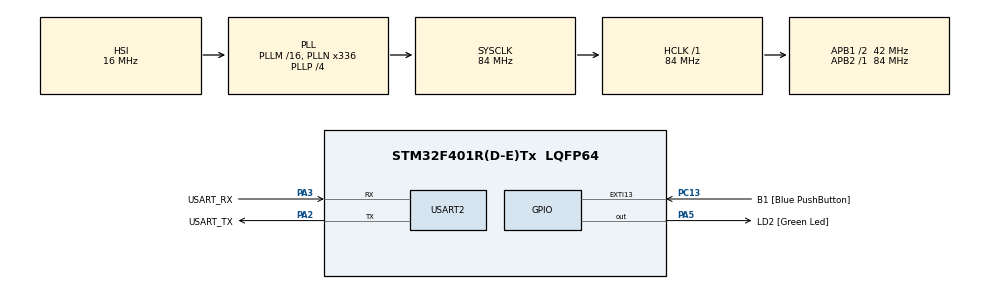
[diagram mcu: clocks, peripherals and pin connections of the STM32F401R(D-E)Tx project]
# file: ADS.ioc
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Mcu.Family=STM32F4
Mcu.Name=STM32F401R(D-E)Tx
Mcu.Package=LQFP64
NVIC.PriorityGroup=NVIC_PRIORITYGROUP_4
PA13.GPIO_Label=TMS
PA13.Mode=Trace_Asynchronous_SW
PA13.Signal=SYS_JTMS-SWDIO
PA14.GPIO_Label=TCK
PA14.Mode=Trace_Asynchronous_SW
PA14.Signal=SYS_JTCK-SWCLK
PA2.GPIO_Label=USART_TX
PA2.GPIO_Mode=GPIO_MODE_AF_PP
PA2.GPIO_PuPd=GPIO_NOPULL
PA2.GPIO_Speed=GPIO_SPEED_FREQ_LOW
PA2.Mode=Asynchronous
PA2.Signal=USART2_TX
PA3.GPIO_Label=USART_RX
PA3.GPIO_Mode=GPIO_MODE_AF_PP
PA3.GPIO_PuPd=GPIO_NOPULL
PA3.GPIO_Speed=GPIO_SPEED_FREQ_LOW
PA3.Mode=Asynchronous
PA3.Signal=USART2_RX
PA5.GPIO_Label=LD2 [Green Led]
PA5.GPIO_Mode=GPIO_MODE_OUTPUT_PP
PA5.GPIO_PuPd=GPIO_NOPULL
PA5.GPIO_Speed=GPIO_SPEED_FREQ_LOW
PA5.Signal=GPIO_Output
PB3.GPIO_Label=SWO
PB3.Mode=Trace_Asynchronous_SW
PB3.Signal=SYS_JTDO-SWO
PC13-ANTI_TAMP.GPIO_Label=B1 [Blue PushButton]
PC13-ANTI_TAMP.GPIO_ModeDefaultEXTI=GPIO_MODE_IT_FALLING
PC13-ANTI_TAMP.GPIO_PuPd=GPIO_NOPULL
PC13-ANTI_TAMP.Signal=GPXTI13
PC14-OSC32_IN.Mode=LSE-External-Oscillator
PC14-OSC32_IN.Signal=RCC_OSC32_IN
PC15-OSC32_OUT.Mode=LSE-External-Oscillator
PC15-OSC32_OUT.Signal=RCC_OSC32_OUT
PH0\ -\ OSC_IN.Mode=HSE-External-Clock-Source
PH0\ -\ OSC_IN.Signal=RCC_OSC_IN
PH1\ -\ OSC_OUT.Mode=HSE-External-Clock-Source
PH1\ -\ OSC_OUT.Signal=RCC_OSC_OUT
ProjectManager.HeapSize=0x200
ProjectManager.StackSize=0x2000
ProjectManager.TargetToolchain=STM32CubeIDE
RCC.48MHZClocksFreq_Value=48000000
RCC.AHBFreq_Value=84000000
RCC.APB1CLKDivider=RCC_HCLK_DIV2
RCC.APB1Freq_Value=42000000
RCC.APB1TimFreq_Value=84000000
RCC.APB2Freq_Value=84000000
RCC.APB2TimFreq_Value=84000000
RCC.CortexFreq_Value=84000000
RCC.HCLKFreq_Value=84000000
RCC.HSE_VALUE=8000000
RCC.HSI_VALUE=16000000
RCC.PLLN=336
RCC.PLLP=RCC_PLLP_DIV4
RCC.PLLQ=7
RCC.SYSCLKFreq_VALUE=84000000
RCC.SYSCLKSource=RCC_SYSCLKSOURCE_PLLCLK
RCC.VCOOutputFreq_Value=336000000
USART2.VirtualMode=VM_ASYNC
board=NUCLEO-F401RE

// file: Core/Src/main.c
/* USER CODE BEGIN Header */
/**
  ******************************************************************************
  * @file           : main.c
  * @brief          : Main program body
  ******************************************************************************
  * @attention
  *
  * Copyright (c) 2026 STMicroelectronics.
  * All rights reserved.
  *
  * This software is licensed under terms that can be found in the LICENSE file
  * in the root directory of this software component.
  * If no LICENSE file comes with this software, it is provided AS-IS.
  *
  ******************************************************************************
  */
/* USER CODE END Header */
#include "main.h"

/* USER CODE BEGIN Includes */
#include "ads_protocol.h"
#include "ads_motor.h"
#include "ads_sensors.h"
#include "ads_circuit.h"
#include "ads_circuit_relay.h"
#include <string.h>
/* USER CODE END Includes */

UART_HandleTypeDef huart2;

/* USER CODE BEGIN PV */
static ADS_Protocol ads_protocol;
static ADS_Test motor_test;
static ADS_Test circuit_test;
static uint8_t circuit_ready;
/* ISR receives bytes while bounded I2C/one-wire operations and TX execute. */
static uint8_t rx_byte, rx_ring[1024];
static volatile uint16_t rx_head, rx_tail;
static volatile uint8_t rx_fault;
/* USER CODE END PV */

void SystemClock_Config(void);
static void MX_GPIO_Init(void);
static void MX_USART2_UART_Init(void);
/* USER CODE BEGIN PFP */
static int ADS_UART_Transmit(const uint8_t *data, size_t length, void *context);
static uint32_t ADS_GetTick(void *context);
/* USER CODE END PFP */

/* USER CODE BEGIN 0 */
/* Independent D5/PB4/IN2 supply channel. No motor PWM is used here. */
static void ADS_StopCircuit(void *context)
{
  (void)context;
  ADS_CircuitRelay_Off();
}
static int ADS_CircuitReady(void *context)
{
  (void)context; ADS_ElectricalBranch branches[2];
  if(motor_test.running || motor_test.armed) return 0;
  ADS_Sensors_Branches(branches,NULL);
  return branches[1].connected && branches[1].configured &&
    branches[1].samples[0].valid && branches[1].samples[1].valid;
}
static int ADS_StartCircuit(uint32_t unused,uint32_t duration,void *context)
{
  (void)unused; (void)duration; (void)context;
#if ADS_PHYSICAL_OUTPUT_ENABLED && ADS_CIRCUIT_OUTPUT_ENABLED && ADS_CIRCUIT_RELAY_VERIFIED && ADS_KILL_SWITCH_VERIFIED && ADS_COMM_LOSS_STOP_VERIFIED
  uint32_t irq=__get_PRIMASK(); __disable_irq();
  if(circuit_test.locked || (uint32_t)(HAL_GetTick()-circuit_test.last_heartbeat_ms)>=2000U || !ADS_CircuitReady(NULL)) { __set_PRIMASK(irq); return 0; }
  ADS_Motor_Stop();
  ADS_CircuitRelay_On();
  __set_PRIMASK(irq);
  return 1;
#else
  return 0;
#endif
}
void ADS_Circuit_Poll(uint32_t now_ms)
{
  if(circuit_ready) ADS_Test_Poll(&circuit_test,now_ms);
}
void ADS_Circuit_Fault(void)
{
  ADS_StopCircuit(NULL);
  if(circuit_ready) ADS_Test_Fault(&circuit_test,HAL_GetTick(),"OUTPUTS_STOPPED");
}
static void ADS_HeartbeatMotor(uint32_t now_ms, void *context)
{
  (void)context;
  ADS_Motor_Heartbeat(now_ms);
}

static void ADS_StopMotor(void *context)
{
  (void)context;
  ADS_Motor_Stop();
  ADS_Circuit_Fault();
}

void HAL_UART_RxCpltCallback(UART_HandleTypeDef *uart)
{
  if (uart->Instance!=USART2) return;
  uint16_t next=(uint16_t)((rx_head+1U)&1023U);
  if (next==rx_tail) { rx_fault=1; ADS_Motor_Fault(); ADS_Circuit_Fault(); }
  else { rx_ring[rx_head]=rx_byte; __DMB(); rx_head=next; }
  if (HAL_UART_Receive_IT(&huart2,&rx_byte,1)!=HAL_OK) { rx_fault=1; ADS_Motor_Fault(); ADS_Circuit_Fault(); }
}
void HAL_UART_ErrorCallback(UART_HandleTypeDef *uart)
{
  if (uart->Instance==USART2) { rx_fault=1; ADS_Motor_Fault(); ADS_Circuit_Fault(); }
}
static void ADS_ReceivePoll(void)
{
  if (rx_fault) {
    uint32_t irq=__get_PRIMASK(); __disable_irq();
    rx_head=rx_tail=0; rx_fault=0;
    ads_protocol.receive_length=0; ads_protocol.receive_overflow=1;
    HAL_UART_AbortReceive(&huart2);
    if (HAL_UART_Receive_IT(&huart2,&rx_byte,1)!=HAL_OK) rx_fault=1;
    __set_PRIMASK(irq);
    ADS_Test_Fault(&motor_test,HAL_GetTick(),"UART_RECEIVE_FAULT");
    ADS_Test_Fault(&circuit_test,HAL_GetTick(),"UART_RECEIVE_FAULT");
  }
  for(unsigned budget=0;budget<512 && rx_tail!=rx_head && !rx_fault;budget++) {
    uint8_t byte=rx_ring[rx_tail]; __DMB(); rx_tail=(uint16_t)((rx_tail+1U)&1023U);
    ADS_Protocol_ProcessByte(&ads_protocol,byte);
  }
}
static int ADS_TestReady(void *context)
{
  (void)context;
  return (!(motor_test.running || motor_test.armed) || !ADS_Motor_IsLatched()) && !circuit_test.running && !circuit_test.armed && ADS_Motor_OperationReady() && (motor_test.running ? ADS_Sensors_Ready() : ADS_Motor_IdleReady());
}
static int ADS_TestPreparePower(void *context)
{
  (void)context;uint32_t irq=__get_PRIMASK();__disable_irq();
  int result=ADS_Motor_PreparePower();__set_PRIMASK(irq);return result;
}
static int ADS_TestPowerState(void *context) { (void)context;return ADS_Motor_PowerState(); }
static int ADS_TestFeedback(void *context)
{ (void)context; return ADS_Motor_PowerFeedbackState(); }
static int ADS_TestArm(void *context)
{
  (void)context;
  uint32_t irq=__get_PRIMASK(); __disable_irq();
  int armed=ADS_Motor_Rearm();
  __set_PRIMASK(irq);
  return armed;
}
static int ADS_TestStart(uint32_t pwm, uint32_t duration, void *context)
{
  (void)context;
  /* Atomic against SysTick/fault-stop between readiness and activation. */
  uint32_t irq=__get_PRIMASK(); __disable_irq();
  int started=ADS_Motor_StartPWM(pwm,duration);
  __set_PRIMASK(irq);
  return started;
}
static int ADS_UART_Transmit(const uint8_t *data, size_t length, void *context)
{
  UART_HandleTypeDef *uart = (UART_HandleTypeDef *)context;
  /* Larger dual-sensor frames must not starve conversion polling. Keep the
   * existing blocking HAL interface, but service acquisition between bounded
   * 24-byte chunks (~2.1 ms at 115200). No nested protocol processing here. */
  while (length) {
    uint16_t chunk=(uint16_t)(length>24U?24U:length);
    if (HAL_UART_Transmit(uart,(uint8_t *)data,chunk,100U)!=HAL_OK) {
      ADS_Motor_Fault(); ADS_Circuit_Fault(); return -1;
    }
    data+=chunk; length-=chunk;
    ADS_Sensors_Poll(); ADS_Motor_Poll(HAL_GetTick());
  }
  return 0;
}

static uint32_t ADS_GetTick(void *context)
{
  (void)context;
  return HAL_GetTick();
}

/* USER CODE END 0 */

int main(void)
{

  /* MCU Configuration--------------------------------------------------------*/

  /* Reset of all peripherals, Initializes the Flash interface and the Systick. */
  HAL_Init();

  /* USER CODE BEGIN Init */
  ADS_Motor_Init();
  ADS_CircuitRelay_Init();

  /* USER CODE END Init */

  /* Configure the system clock */
  SystemClock_Config();

  /* Initialize all configured peripherals */
  MX_GPIO_Init();
  MX_USART2_UART_Init();
  /* USER CODE BEGIN 2 */
  ADS_Protocol_Init(&ads_protocol, ADS_UART_Transmit, ADS_GetTick, &huart2);
  ads_protocol.require_crc=1;
  ADS_Sensors_Init();
  ADS_Test_Init(&motor_test, ADS_BENCH_PWM_PERCENT, ADS_BENCH_MAX_DURATION_MS,
                ADS_Motor_OutputEnabled(), ADS_TestReady, ADS_TestStart, ADS_StopMotor, NULL);
  motor_test.power_required=1;motor_test.prepare_power=ADS_TestPreparePower;motor_test.power_state=ADS_TestPowerState;
  motor_test.disabled_reason=ADS_Motor_BlockReason();
  motor_test.supervised_required=ADS_MOTOR_OPERATING_MODE==ADS_MODE_SUPERVISED_TEST;
  motor_test.power_feedback_installed=ADS_POWER_FEEDBACK_INSTALLED;
  motor_test.power_feedback_verified=ADS_POWER_FEEDBACK_WIRING_VERIFIED;
  motor_test.feedback=ADS_TestFeedback;
  motor_test.arm=ADS_TestArm;
  ADS_Protocol_SetHardwareCallbacks(&ads_protocol, ADS_Sensors_Acquire, ADS_StopMotor);
  ADS_Protocol_SetMeasurementInfo(&ads_protocol, ADS_Sensors_Info);
  ADS_Protocol_SetBranches(&ads_protocol, ADS_Sensors_Branches);
  ADS_Protocol_SetMotorTest(&ads_protocol, &motor_test);
  ADS_Test_Init(&circuit_test,100,30000,
    ADS_PHYSICAL_OUTPUT_ENABLED && ADS_CIRCUIT_OUTPUT_ENABLED && ADS_CIRCUIT_RELAY_VERIFIED && ADS_KILL_SWITCH_VERIFIED && ADS_COMM_LOSS_STOP_VERIFIED && ADS_SUPERVISED_TESTING_APPROVED,
    ADS_CircuitReady,ADS_StartCircuit,ADS_StopCircuit,NULL);
  circuit_test.supervised_required=1;
  circuit_test.disabled_reason="CIRCUIT_CONTROL_DISABLED";
  circuit_ready=1;
  ADS_Protocol_SetCircuitTest(&ads_protocol,&circuit_test);
  ADS_Protocol_SetHeartbeatCallback(&ads_protocol, ADS_HeartbeatMotor);
  /* Independent watchdog: main-loop lockup resets to disabled startup.
   * LSI tolerance means the nominal ~2s setting needs bench measurement. */
  IWDG->KR=0x5555U; IWDG->PR=4U; IWDG->RLR=1000U; IWDG->KR=0xccccU;
  IWDG->KR=0xaaaaU;
  HAL_NVIC_SetPriority(USART2_IRQn,1,0);
  HAL_NVIC_EnableIRQ(USART2_IRQn);
  if (HAL_UART_Receive_IT(&huart2,&rx_byte,1)!=HAL_OK) Error_Handler();
  /* USER CODE END 2 */

  /* Infinite loop */
  while (1)
  {

    /* USER CODE BEGIN 3 */
      IWDG->KR=0xaaaaU;
      ADS_Motor_Poll(HAL_GetTick());
      ADS_Sensors_Poll();
      if ((motor_test.running || motor_test.armed) && ADS_Motor_IsLatched())
        ADS_Test_Fault(&motor_test, HAL_GetTick(), "MCU_SHUTDOWN_LATCHED");
      ADS_Test_Poll(&motor_test, HAL_GetTick());
      ADS_Protocol_EmitMotorEvents(&ads_protocol);

#if ADS_PROTOCOL_LEGACY_BANNER_ENABLED
      char msg[] = "STM32 CONNECTED TO PI\r\n";
      HAL_UART_Transmit(&huart2, (uint8_t *)msg, strlen(msg), 100U);
      HAL_Delay(1000);
#else
      ADS_ReceivePoll();
      ADS_Protocol_Poll(&ads_protocol);
#endif
	  }
  }
  /* USER CODE END 3 */

void SystemClock_Config(void)
{
  RCC_OscInitTypeDef RCC_OscInitStruct = {0};
  RCC_ClkInitTypeDef RCC_ClkInitStruct = {0};

  /** Configure the main internal regulator output voltage
  */
  __HAL_RCC_PWR_CLK_ENABLE();
  __HAL_PWR_VOLTAGESCALING_CONFIG(PWR_REGULATOR_VOLTAGE_SCALE2);

  /** Initializes the RCC Oscillators according to the specified parameters
  * in the RCC_OscInitTypeDef structure.
  */
  RCC_OscInitStruct.OscillatorType = RCC_OSCILLATORTYPE_HSI;
  RCC_OscInitStruct.HSIState = RCC_HSI_ON;
  RCC_OscInitStruct.HSICalibrationValue = RCC_HSICALIBRATION_DEFAULT;
  RCC_OscInitStruct.PLL.PLLState = RCC_PLL_ON;
  RCC_OscInitStruct.PLL.PLLSource = RCC_PLLSOURCE_HSI;
  RCC_OscInitStruct.PLL.PLLM = 16;
  RCC_OscInitStruct.PLL.PLLN = 336;
  RCC_OscInitStruct.PLL.PLLP = RCC_PLLP_DIV4;
  RCC_OscInitStruct.PLL.PLLQ = 7;
  if (HAL_RCC_OscConfig(&RCC_OscInitStruct) != HAL_OK)
  {
    Error_Handler();
  }

  /** Initializes the CPU, AHB and APB buses clocks
  */
  RCC_ClkInitStruct.ClockType = RCC_CLOCKTYPE_HCLK|RCC_CLOCKTYPE_SYSCLK
                              |RCC_CLOCKTYPE_PCLK1|RCC_CLOCKTYPE_PCLK2;
  RCC_ClkInitStruct.SYSCLKSource = RCC_SYSCLKSOURCE_PLLCLK;
  RCC_ClkInitStruct.AHBCLKDivider = RCC_SYSCLK_DIV1;
  RCC_ClkInitStruct.APB1CLKDivider = RCC_HCLK_DIV2;
  RCC_ClkInitStruct.APB2CLKDivider = RCC_HCLK_DIV1;

  if (HAL_RCC_ClockConfig(&RCC_ClkInitStruct, FLASH_LATENCY_2) != HAL_OK)
  {
    Error_Handler();
  }
}

static void MX_USART2_UART_Init(void)
{

  huart2.Instance = USART2;
  huart2.Init.BaudRate = 115200;
  huart2.Init.WordLength = UART_WORDLENGTH_8B;
  huart2.Init.StopBits = UART_STOPBITS_1;
  huart2.Init.Parity = UART_PARITY_NONE;
  huart2.Init.Mode = UART_MODE_TX_RX;
  huart2.Init.HwFlowCtl = UART_HWCONTROL_NONE;
  huart2.Init.OverSampling = UART_OVERSAMPLING_16;
  if (HAL_UART_Init(&huart2) != HAL_OK)
  {
    Error_Handler();
  }

}

static void MX_GPIO_Init(void)
{
  GPIO_InitTypeDef GPIO_InitStruct = {0};

  /* GPIO Ports Clock Enable */
  __HAL_RCC_GPIOC_CLK_ENABLE();
  __HAL_RCC_GPIOH_CLK_ENABLE();
  __HAL_RCC_GPIOA_CLK_ENABLE();
  __HAL_RCC_GPIOB_CLK_ENABLE();

  /*Configure GPIO pin Output Level */
  HAL_GPIO_WritePin(LD2_GPIO_Port, LD2_Pin, GPIO_PIN_RESET);

  /*Configure GPIO pin : B1_Pin */
  GPIO_InitStruct.Pin = B1_Pin;
  GPIO_InitStruct.Mode = GPIO_MODE_IT_FALLING;
  GPIO_InitStruct.Pull = GPIO_NOPULL;
  HAL_GPIO_Init(B1_GPIO_Port, &GPIO_InitStruct);

  /*Configure GPIO pin : LD2_Pin */
  GPIO_InitStruct.Pin = LD2_Pin;
  GPIO_InitStruct.Mode = GPIO_MODE_OUTPUT_PP;
  GPIO_InitStruct.Pull = GPIO_NOPULL;
  GPIO_InitStruct.Speed = GPIO_SPEED_FREQ_LOW;
  HAL_GPIO_Init(LD2_GPIO_Port, &GPIO_InitStruct);

}

void Error_Handler(void)
{
  /* USER CODE BEGIN Error_Handler_Debug */
  ADS_Motor_Fault(); ADS_Circuit_Fault();
  /* User can add his own implementation to report the HAL error return state */
  __disable_irq();
  while (1)
  {
  }
  /* USER CODE END Error_Handler_Debug */
}
